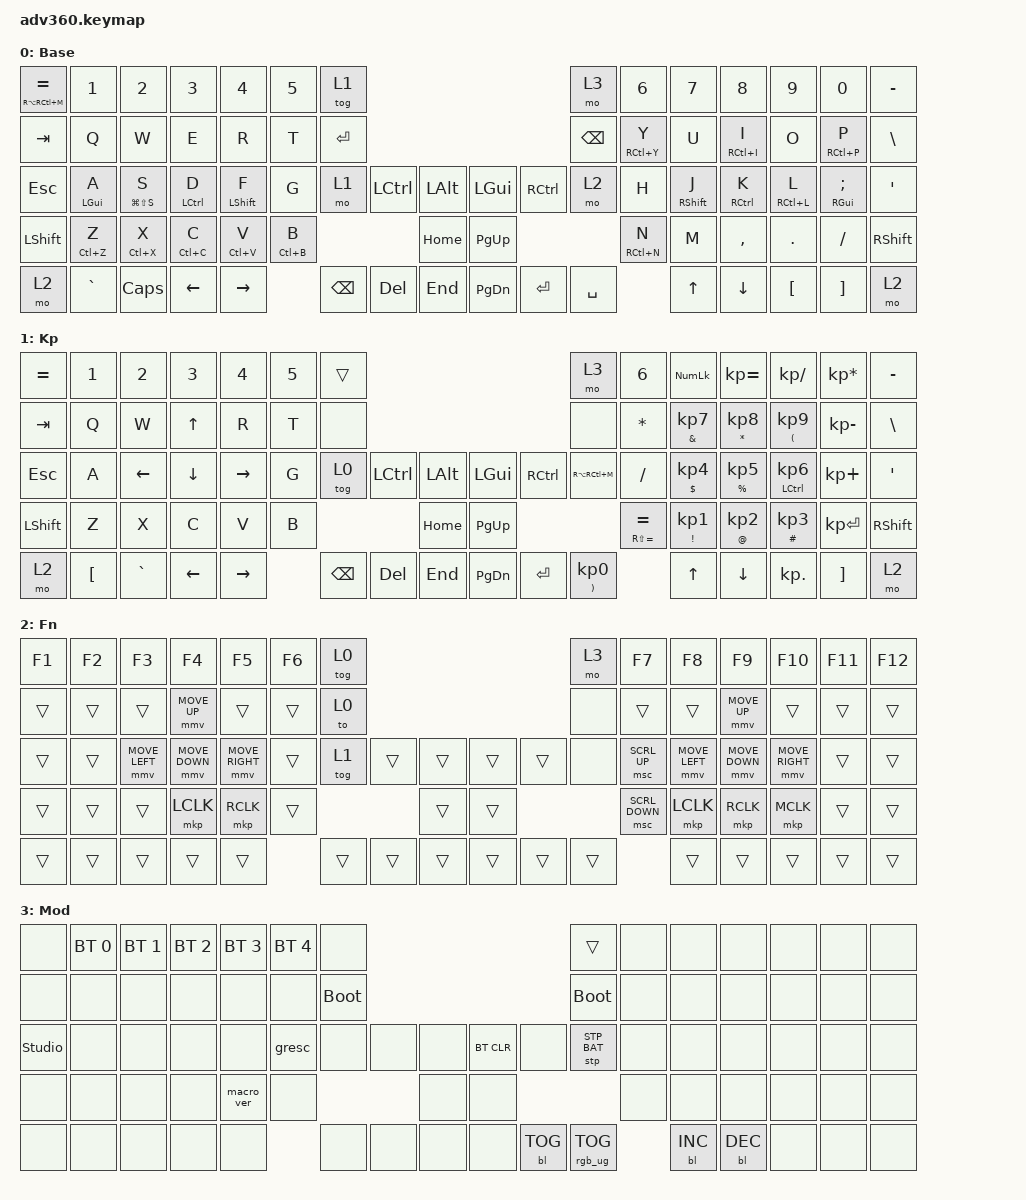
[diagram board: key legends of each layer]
#include <dt-bindings/zmk/stp.h>
#include <behaviors.dtsi>
#include <dt-bindings/zmk/backlight.h>
#include <dt-bindings/zmk/bt.h>
#include <dt-bindings/zmk/keys.h>
#include <dt-bindings/zmk/pointing.h>
#include <dt-bindings/zmk/rgb.h>

/ {
    behaviors {
        #include "macros.dtsi"
      #include "version.dtsi"

        hm: homerow_mods {
            compatible = "zmk,behavior-hold-tap";
            label = "HOMEROW_MODS";
            #binding-cells = <2>;
            tapping-term-ms = <300>;
            quick_tap_ms = <300>;
            flavor = "tap-preferred";
            bindings = <&kp>, <&kp>;

            quick-tap-ms = <300>;
            hold-trigger-key-positions = <0 1 2 3 4 5 6 14 15 16 17 18 19 20 28 29 30 31 32 33 34 46 47 48 49 50 51 62 63 64 60 61 35 36 52 65 66 67 37 38 53 68 69 70 7 8 9 10 11 12 13 21 22 23 24 25 26 27 38 39 40 41 42 43 44 45 54 55 56 57 58 59 71 72 73 74 75>;
        };
    };

    keymap {
        compatible = "zmk,keymap";

        default_layer {
            display-name = "Base";
            bindings = <
&hm RA(RC(M)) EQUAL  &kp N1          &kp N2           &kp N3       &kp N4            &kp N5       &tog 1                                                        &mo 3          &kp N6       &kp N7             &kp N8               &kp N9       &kp N0              &kp MINUS
&kp TAB              &kp Q           &kp W            &kp E        &kp R             &kp T        &kp ENTER                                                     &kp BACKSPACE  &hm RC(Y) Y  &kp U              &hm RC(I) I          &kp O        &hm RC(P) P         &kp BSLH
&kp ESC              &hm LEFT_GUI A  &hm LG(LS(S)) S  &hm LCTRL D  &hm LEFT_SHIFT F  &kp G        &mo 1      &kp LCTRL  &kp LALT      &kp LGUI       &kp RCTRL  &mo 2          &kp H        &hm RIGHT_SHIFT J  &hm RIGHT_CONTROL K  &hm RC(L) L  &hm RIGHT_GUI SEMI  &kp SQT
&kp LSHFT            &hm LC(Z) Z     &hm LC(X) X      &hm LC(C) C  &hm LC(V) V       &hm LC(B) B                        &kp HOME      &kp PAGE_UP                              &hm RC(N) N  &kp M              &kp COMMA            &kp DOT      &kp FSLH            &kp RSHFT
&mo 2                &kp GRAVE       &kp CAPS         &kp LEFT     &kp RIGHT                      &kp BSPC   &kp DEL    &kp END       &kp PAGE_DOWN  &kp ENTER  &kp SPACE                   &kp UP             &kp DOWN             &kp LBKT     &kp RBKT            &mo 2
            >;
        };

        keypad {
            display-name = "Kp";
            bindings = <
&kp EQUAL  &kp N1            &kp N2          &kp N3          &kp N4           &kp N5  &trans                                                   &mo 3                              &kp N6               &kp KP_NUM             &kp KP_EQUAL        &kp KP_DIVIDE               &kp KP_MULTIPLY  &kp MINUS
&kp TAB    &kp Q             &kp W           &kp UP_ARROW    &kp R            &kp T   &none                                                    &none                              &kp ASTERISK         &hm AMPERSAND KP_N7    &hm ASTERISK KP_N8  &hm LEFT_PARENTHESIS KP_N9  &kp KP_MINUS     &kp BSLH
&kp ESC    &kp A             &kp LEFT_ARROW  &kp DOWN_ARROW  &kp RIGHT_ARROW  &kp G   &tog 0    &kp LCTRL  &kp LALT      &kp LGUI   &kp RCTRL  &kp RA(RC(M))                      &kp FSLH             &hm DOLLAR KP_N4       &hm PERCENT KP_N5   &hm LCTRL KP_N6             &kp KP_PLUS      &kp SQT
&kp LSHFT  &kp Z             &kp X           &kp C           &kp V            &kp B                        &kp HOME      &kp PG_UP                                                &hm RS(EQUAL) EQUAL  &hm EXCLAMATION KP_N1  &hm AT_SIGN KP_N2   &hm HASH KP_N3              &kp KP_ENTER     &kp RSHFT
&mo 2      &kp LEFT_BRACKET  &kp GRAVE       &kp LEFT        &kp RIGHT                &kp BSPC  &kp DEL    &kp END       &kp PG_DN  &kp ENTER  &hm RIGHT_PARENTHESIS KP_NUMBER_0                       &kp UP                 &kp DOWN            &kp KP_DOT                  &kp RBKT         &mo 2
            >;
        };

        fn {
            display-name = "Fn";
            bindings = <
&kp F1  &kp F2  &kp F3          &kp F4          &kp F5           &kp F6  &tog 0                                      &mo 3   &kp F7          &kp F8          &kp F9          &kp F10          &kp F11  &kp F12
&trans  &trans  &trans          &mmv MOVE_UP    &trans           &trans  &to 0                                       &none   &trans          &trans          &mmv MOVE_UP    &trans           &trans   &trans
&trans  &trans  &mmv MOVE_LEFT  &mmv MOVE_DOWN  &mmv MOVE_RIGHT  &trans  &tog 1  &trans  &trans      &trans  &trans  &none   &msc SCRL_UP    &mmv MOVE_LEFT  &mmv MOVE_DOWN  &mmv MOVE_RIGHT  &trans   &trans
&trans  &trans  &trans          &mkp LCLK       &mkp RCLK        &trans                  &trans      &trans                  &msc SCRL_DOWN  &mkp LCLK       &mkp RCLK       &mkp MCLK        &trans   &trans
&trans  &trans  &trans          &trans          &trans                   &trans  &trans  &trans      &trans  &trans  &trans                  &trans          &trans          &trans           &trans   &trans
            >;
        };

        mod {
            display-name = "Mod";
            bindings = <
&none           &bt BT_SEL 0  &bt BT_SEL 1  &bt BT_SEL 2  &bt BT_SEL 3  &bt BT_SEL 4  &none                                                  &trans           &none  &none       &none       &none  &none  &none
&none           &none         &none         &none         &none         &none         &bootloader                                            &bootloader      &none  &none       &none       &none  &none  &none
&studio_unlock  &none         &none         &none         &none         &gresc        &none        &none  &none      &bt BT_CLR  &none       &stp STP_BAT     &none  &none       &none       &none  &none  &none
&none           &none         &none         &none         &macro_ver    &none                             &none      &none                                    &none  &none       &none       &none  &none  &none
&none           &none         &none         &none         &none                       &none        &none  &none      &none       &bl BL_TOG  &rgb_ug RGB_TOG         &bl BL_INC  &bl BL_DEC  &none  &none  &none
            >;
        };

        extra1 {
            display-name = "Red";
            status = "reserved";
        };

        extra2 {
            display-name = "Purple";
            status = "reserved";
        };

        extra3 {
            display-name = "Cyan";
            status = "reserved";
        };

        extra4 {
            display-name = "Yellow";
            status = "reserved";
        };
    };
};
